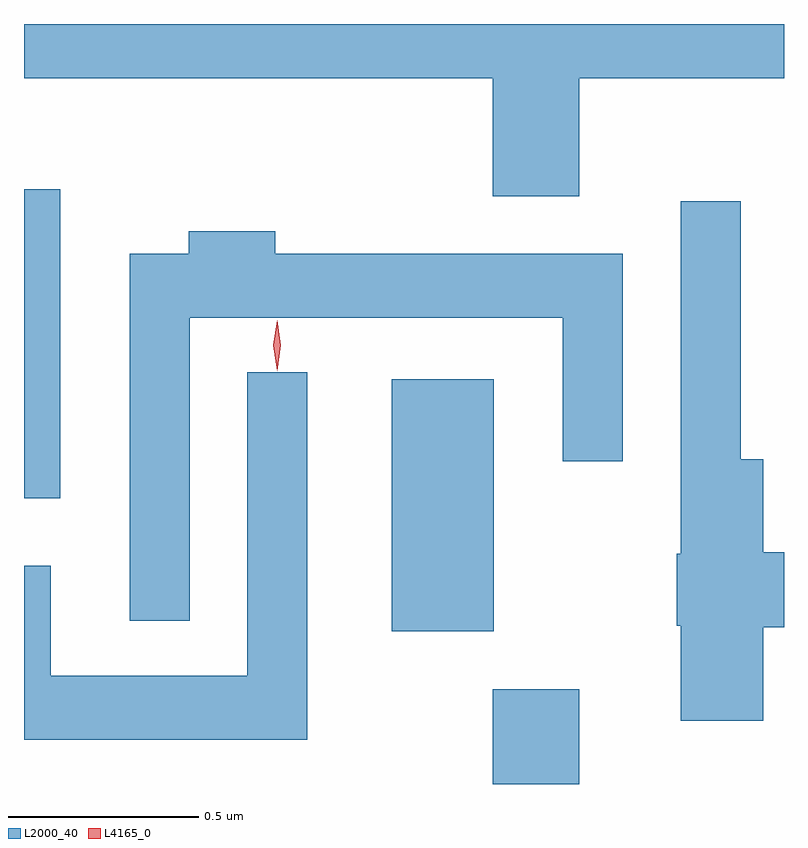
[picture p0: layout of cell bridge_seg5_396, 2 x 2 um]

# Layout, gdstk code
import gdstk
lib = gdstk.Library(unit=1e-6, precision=1e-09)
def R(c, l, rs):  # rectangles x0, y0, x1, y1
    for r in rs: c.add(gdstk.rectangle(r[:2], r[2:], *l))
def P(c, l, *ps):  # polygons
    for p in ps: c.add(gdstk.Polygon(p, *l))
L2000_40 = (2000, 40)
L4165_0 = (4165, 0)

bridge_seg5_396 = lib.new_cell('bridge_seg5_396')
R(bridge_seg5_396, L2000_40, [(573.681,1519.319,573.909,1519.569), (573.416,1519.721,573.684,1520.384), (572.448,1520.071,572.544,1520.884)])
P(bridge_seg5_396, L2000_40, [(573.909,1521.176),(574.448,1521.176),(574.448,1521.319),(572.448,1521.319),(572.448,1521.176),(573.681,1521.176),(573.681,1520.866),(573.909,1520.866)],
  [(574.394,1519.731),(574.448,1519.731),(574.448,1519.929),(574.394,1519.929),(574.394,1520.174),(574.334,1520.174),(574.334,1520.853),(574.176,1520.853),(574.176,1519.925),(574.166,1519.925),(574.166,1519.735),(574.176,1519.735),(574.176,1519.486),(574.394,1519.486)],
  [(572.884,1520.546),(573.866,1520.546),(573.866,1520.168),(574.024,1520.168),(574.024,1520.714),(573.109,1520.714),(573.109,1520.774),(572.881,1520.774),(572.881,1520.714),(572.726,1520.714),(572.726,1519.748),(572.884,1519.748)],
  [(573.194,1520.403),(573.036,1520.403),(573.036,1519.604),(572.519,1519.604),(572.519,1519.894),(572.448,1519.894),(572.448,1519.436),(573.194,1519.436)])
P(bridge_seg5_396, L4165_0, [(573.114,1520.407),(573.104,1520.474),(573.114,1520.54),(573.114,1520.54),(573.115,1520.54),(573.124,1520.474),(573.115,1520.407),(573.115,1520.407)])

lib.write_gds('bridge_seg5_396.gds')
